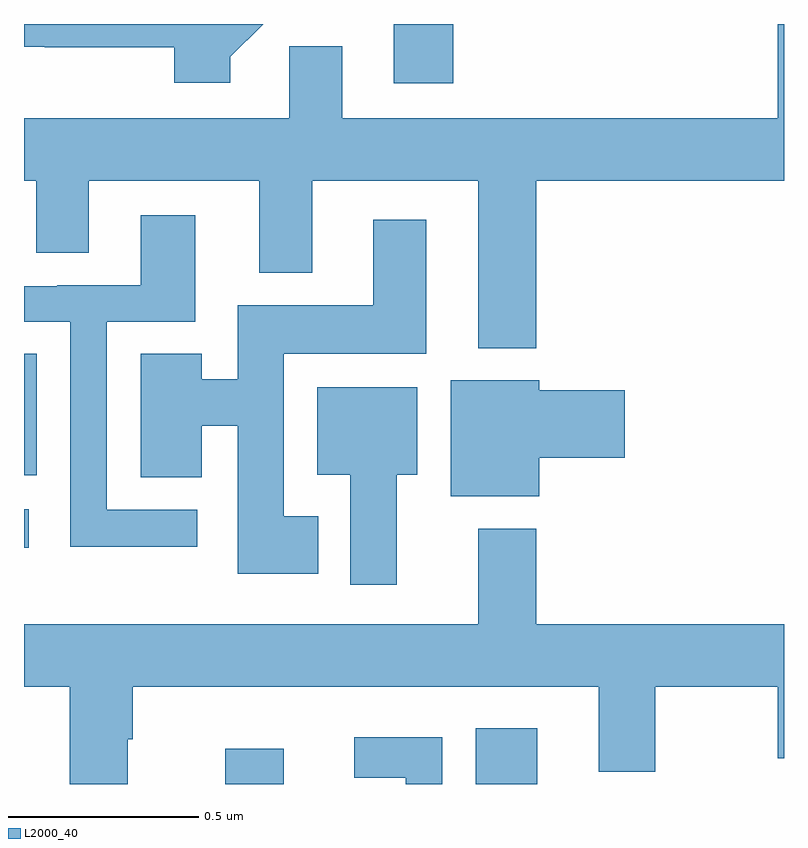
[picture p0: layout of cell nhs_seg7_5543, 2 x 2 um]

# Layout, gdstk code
import gdstk
lib = gdstk.Library(unit=1e-6, precision=1e-09)
def R(c, l, rs):  # rectangles x0, y0, x1, y1
    for r in rs: c.add(gdstk.rectangle(r[:2], r[2:], *l))
def P(c, l, *ps):  # polygons
    for p in ps: c.add(gdstk.Polygon(p, *l))
L2000_40 = (2000, 40)

nhs_seg7_5543 = lib.new_cell('nhs_seg7_5543')
R(nhs_seg7_5543, L2000_40, [(187.529,1027,187.684,1027.093), (188.189,1027,188.35,1027.147), (187,1027.622,187.012,1027.723), (187,1027.812,187.033,1028.132), (187.973,1028.844,188.129,1029)])
P(nhs_seg7_5543, L2000_40, [(188.348,1028.588),(189,1028.588),(189,1029),(188.984,1029),(188.984,1028.752),(187.837,1028.752),(187.837,1028.942),(187.698,1028.942),(187.698,1028.752),(187,1028.752),(187,1028.588),(187.032,1028.588),(187.032,1028.398),(187.171,1028.398),(187.171,1028.588),(187.619,1028.588),(187.619,1028.345),(187.759,1028.345),(187.759,1028.588),(188.195,1028.588),(188.195,1028.147),(188.348,1028.147)],
  [(187.543,1028.914),(187.629,1029),(187,1029),(187,1028.94),(187.054,1028.94),(187.054,1028.939),(187.396,1028.939),(187.396,1028.846),(187.543,1028.846)],
  [(187.456,1027.722),(187.218,1027.722),(187.218,1028.217),(187.45,1028.217),(187.45,1028.497),(187.307,1028.497),(187.307,1028.313),(187.087,1028.313),(187.087,1028.31),(187,1028.31),(187,1028.217),(187.122,1028.217),(187.122,1027.625),(187.456,1027.625)],
  [(187.774,1027.705),(187.684,1027.705),(187.684,1028.132),(188.059,1028.132),(188.059,1028.485),(187.919,1028.485),(187.919,1028.26),(187.562,1028.26),(187.562,1028.065),(187.468,1028.065),(187.468,1028.132),(187.307,1028.132),(187.307,1027.807),(187.468,1027.807),(187.468,1027.943),(187.562,1027.943),(187.562,1027.553),(187.774,1027.553)],
  [(188.356,1027.858),(188.581,1027.858),(188.581,1028.036),(188.356,1028.036),(188.356,1028.062),(188.123,1028.062),(188.123,1027.757),(188.356,1027.757)],
  [(187.981,1027.814),(188.035,1027.814),(188.035,1028.044),(187.772,1028.044),(187.772,1027.814),(187.859,1027.814),(187.859,1027.524),(187.981,1027.524)],
  [(187.273,1027.118),(187.286,1027.118),(187.286,1027.256),(188.513,1027.256),(188.513,1027.032),(188.661,1027.032),(188.661,1027.256),(188.984,1027.256),(188.984,1027.068),(189,1027.068),(189,1027.42),(188.348,1027.42),(188.348,1027.672),(188.195,1027.672),(188.195,1027.42),(187,1027.42),(187,1027.256),(187.121,1027.256),(187.121,1027),(187.273,1027)],
  [(188.1,1027.123),(187.869,1027.123),(187.869,1027.016),(188.004,1027.016),(188.004,1027),(188.1,1027)])

lib.write_gds('nhs_seg7_5543.gds')
